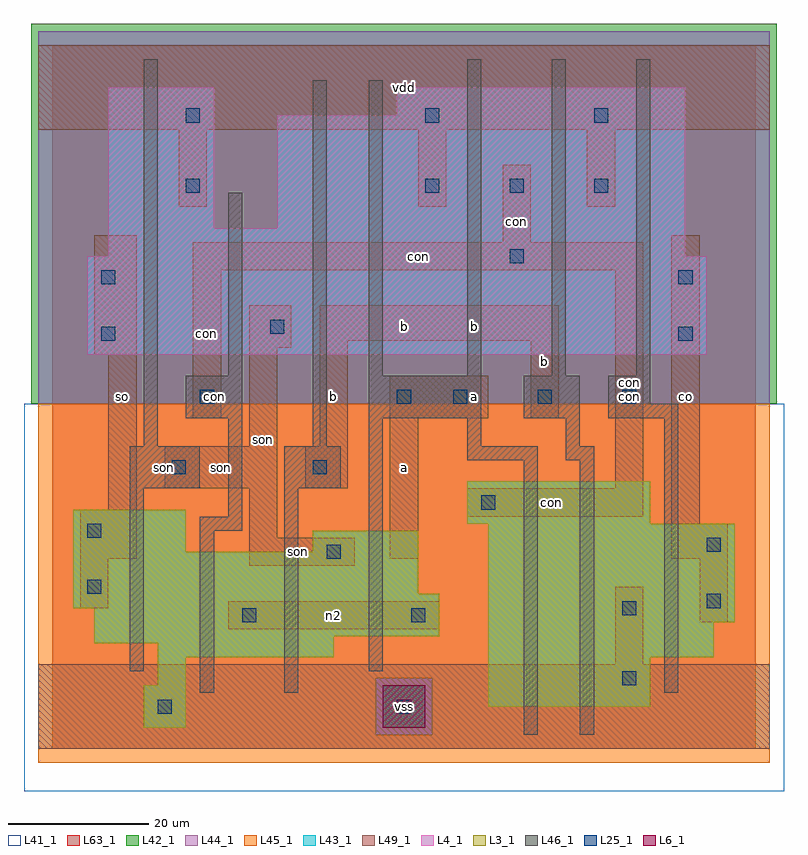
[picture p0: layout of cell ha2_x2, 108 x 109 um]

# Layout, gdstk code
import gdstk
lib = gdstk.Library(unit=1e-6, precision=1e-09)
def R(c, l, rs):  # rectangles x0, y0, x1, y1
    for r in rs: c.add(gdstk.rectangle(r[:2], r[2:], *l))
def A(c, l, x, y, w, h, nx, ny, dx, dy):  # array of equal rectangles
    R(c, l, [(x+i*dx, y+j*dy, x+i*dx+w, y+j*dy+h) for i in range(nx) for j in range(ny)])
L3_1 = (3, 1)
L4_1 = (4, 1)
L6_1 = (6, 1)
L25_1 = (25, 1)
L41_1 = (41, 1)
L42_1 = (42, 1)
L43_1 = (43, 1)
L44_1 = (44, 1)
L45_1 = (45, 1)
L46_1 = (46, 1)
L49_1 = (49, 1)
L63_1 = (63, 1)

ha2_x2 = lib.new_cell('ha2_x2')
R(ha2_x2, L3_1, [(13,3,19,9), (62,6,85,13), (15,9,19,13), (15,13,40,15), (62,13,94,18), (6,15,40,16), (6,16,55,20), (62,18,97,32), (3,20,55,22), (3,22,52,28), (3,28,19,34), (37,28,52,31), (59,32,85,38)])
R(ha2_x2, L4_1, [(5,56,93,70), (8,70,90,74), (8,74,23,94), (32,74,90,90), (49,90,90,94)])
R(ha2_x2, L6_1, [(47,3,53,9)])
A(ha2_x2, L25_1, 57, 49, 2, 2, 3, 1, 12, 0)
A(ha2_x2, L25_1, 53, 79, 2, 2, 3, 1, 12, 0)
R(ha2_x2, L25_1, [(15,5,17,7), (49,5,51,7), (81,9,83,11), (27,18,29,20), (51,18,53,20), (81,19,83,21), (93,20,95,22), (5,22,7,24), (39,27,41,29), (93,28,95,30), (5,30,7,32), (61,34,63,36), (17,39,19,41), (37,39,39,41), (21,49,23,51), (49,49,51,51), (7,58,9,60), (89,58,91,60), (31,59,33,61), (7,66,9,68), (89,66,91,68), (65,69,67,71), (19,79,21,81), (19,89,21,91), (53,89,55,91), (77,89,79,91)])
R(ha2_x2, L41_1, [(-4,-6,104,49), (-3,-3,103,49)])
R(ha2_x2, L42_1, [(-3,49,103,103)])
R(ha2_x2, L43_1, [(13,3,19,9), (47,3,53,9), (62,6,85,13), (15,9,19,13), (15,13,40,15), (62,13,94,18), (6,15,40,16), (6,16,55,20), (62,18,97,32), (3,20,55,22), (3,22,52,28), (3,28,19,34), (37,28,52,31), (59,32,85,38), (5,56,93,70), (8,70,90,74), (8,74,23,94), (32,74,90,90), (49,90,90,94)])
R(ha2_x2, L44_1, [(46,2,54,10), (-2,49,102,102)])
R(ha2_x2, L45_1, [(-2,-2,102,2), (-2,2,46,10), (54,2,102,10), (-2,10,102,49)])
A(ha2_x2, L46_1, 59, 53, 2, 45, 3, 1, 12, 0)
R(ha2_x2, L46_1, [(67,2,69,41), (75,2,77,41), (21,8,23,31), (33,8,35,37), (87,8,89,47), (11,11,13,37), (45,11,47,47), (21,31,27,33), (25,33,27,47), (11,37,21,43), (33,37,41,43), (59,41,69,43), (73,41,77,43), (13,43,15,98), (37,43,39,95), (59,43,61,47), (73,43,75,47), (19,47,27,53), (45,47,61,53), (67,47,75,53), (79,47,89,49), (79,49,85,53), (25,53,27,79), (45,53,47,95)])
R(ha2_x2, L49_1, [(-2,0,102,12), (80,12,84,23), (25,17,55,21), (92,18,96,27), (4,20,8,27), (28,26,43,30), (4,27,12,34), (48,27,52,47), (88,27,96,32), (28,30,32,37), (88,32,92,73), (59,33,84,37), (8,34,12,56), (16,37,32,43), (36,37,42,43), (80,37,84,68), (28,43,32,57), (38,43,42,58), (20,47,24,68), (48,47,62,53), (68,47,72,58), (6,56,12,73), (28,57,34,63), (38,58,72,63), (20,68,84,72), (64,72,68,83), (18,77,22,88), (52,77,56,88), (76,77,80,88), (-2,88,102,100)])
R(ha2_x2, L63_1, [(0,0,100,100)])
ha2_x2.add(gdstk.Label('son', (16,40), layer=46, texttype=1))
ha2_x2.add(gdstk.Label('con', (23,50), layer=49, texttype=1))
ha2_x2.add(gdstk.Label('con', (82,50), layer=49, texttype=1))
ha2_x2.add(gdstk.Label('so', (10,50), layer=49, texttype=1))
ha2_x2.add(gdstk.Label('so', (10,50), layer=49, texttype=1))
ha2_x2.add(gdstk.Label('son', (24,40), layer=49, texttype=1))
ha2_x2.add(gdstk.Label('con', (22,59), layer=49, texttype=1))
ha2_x2.add(gdstk.Label('son', (30,44), layer=49, texttype=1))
ha2_x2.add(gdstk.Label('vss', (50,6), layer=49, texttype=1))
ha2_x2.add(gdstk.Label('vss', (50,6), layer=49, texttype=1))
ha2_x2.add(gdstk.Label('n2', (40,19), layer=49, texttype=1))
ha2_x2.add(gdstk.Label('son', (35,28), layer=49, texttype=1))
ha2_x2.add(gdstk.Label('a', (50,40), layer=49, texttype=1))
ha2_x2.add(gdstk.Label('a', (50,40), layer=49, texttype=1))
ha2_x2.add(gdstk.Label('b', (40,50), layer=49, texttype=1))
ha2_x2.add(gdstk.Label('b', (40,50), layer=49, texttype=1))
ha2_x2.add(gdstk.Label('b', (50,60), layer=49, texttype=1))
ha2_x2.add(gdstk.Label('b', (50,60), layer=49, texttype=1))
ha2_x2.add(gdstk.Label('vdd', (50,94), layer=49, texttype=1))
ha2_x2.add(gdstk.Label('vdd', (50,94), layer=49, texttype=1))
ha2_x2.add(gdstk.Label('a', (60,50), layer=49, texttype=1))
ha2_x2.add(gdstk.Label('a', (60,50), layer=49, texttype=1))
ha2_x2.add(gdstk.Label('b', (70,55), layer=49, texttype=1))
ha2_x2.add(gdstk.Label('b', (70,55), layer=49, texttype=1))
ha2_x2.add(gdstk.Label('b', (60,60), layer=49, texttype=1))
ha2_x2.add(gdstk.Label('b', (60,60), layer=49, texttype=1))
ha2_x2.add(gdstk.Label('con', (66,75), layer=49, texttype=1))
ha2_x2.add(gdstk.Label('con', (71,35), layer=49, texttype=1))
ha2_x2.add(gdstk.Label('co', (90,50), layer=49, texttype=1))
ha2_x2.add(gdstk.Label('co', (90,50), layer=49, texttype=1))
ha2_x2.add(gdstk.Label('con', (82,52), layer=49, texttype=1))
ha2_x2.add(gdstk.Label('con', (52,70), layer=49, texttype=1))

lib.write_gds('ha2_x2.gds')
